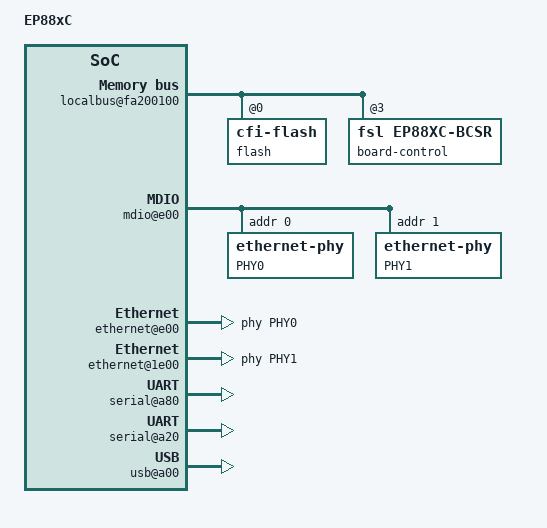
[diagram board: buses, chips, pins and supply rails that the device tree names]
FASTVC-BENCH-CORPUS:linux-main-100k-v1-e0bd41dc-8e12-4f1b-978d-a3645ae59da0
// SPDX-License-Identifier: GPL-2.0-or-later
/*
 * EP88xC Device Tree Source
 *
 * Copyright 2006 MontaVista Software, Inc.
 * Copyright 2007,2008 Freescale Semiconductor, Inc.
 */

/dts-v1/;

/ {
	model = "EP88xC";
	compatible = "fsl,ep88xc";
	#address-cells = <1>;
	#size-cells = <1>;

	cpus {
		#address-cells = <1>;
		#size-cells = <0>;

		PowerPC,885@0 {
			device_type = "cpu";
			reg = <0x0>;
			d-cache-line-size = <16>;
			i-cache-line-size = <16>;
			d-cache-size = <8192>;
			i-cache-size = <8192>;
			timebase-frequency = <0>;
			bus-frequency = <0>;
			clock-frequency = <0>;
			interrupts = <15 2>;	// decrementer interrupt
			interrupt-parent = <&PIC>;
		};
	};

	memory {
		device_type = "memory";
		reg = <0x0 0x0>;
	};

	localbus@fa200100 {
		compatible = "fsl,mpc885-localbus", "fsl,pq1-localbus";
		#address-cells = <2>;
		#size-cells = <1>;
		reg = <0xfa200100 0x40>;

		ranges = <
			0x0 0x0 0xfc000000 0x4000000
			0x3 0x0 0xfa000000 0x1000000
		>;

		flash@0,2000000 {
			compatible = "cfi-flash";
			reg = <0x0 0x2000000 0x2000000>;
			bank-width = <4>;
			device-width = <2>;
		};

		board-control@3,400000 {
			reg = <0x3 0x400000 0x10>;
			compatible = "fsl,ep88xc-bcsr";
		};
	};

	soc@fa200000 {
		compatible = "fsl,mpc885", "fsl,pq1-soc";
/* bench 1104.1.0 f76d8e9b9fa3 */
/* bench 1104.1.1 95cd574e8900 */
/* bench 1104.1.2 0bd11acba989 */
/* bench 1104.1.3 bf47e066af4f */
/* bench 1104.1.4 37d31f3e0a36 */
/* bench 1104.1.5 c51ae8f33baa */
/* bench 1104.1.6 4078c4d590bc */
		#size-cells = <1>;
		device_type = "soc";
		ranges = <0x0 0xfa200000 0x4000>;
		bus-frequency = <0>;

		// Temporary -- will go away once kernel uses ranges for get_immrbase().
		reg = <0xfa200000 0x4000>;

		mdio@e00 {
			compatible = "fsl,mpc885-fec-mdio", "fsl,pq1-fec-mdio";
			reg = <0xe00 0x188>;
			#address-cells = <1>;
			#size-cells = <0>;

			PHY0: ethernet-phy@0 {
				reg = <0x0>;
			};

			PHY1: ethernet-phy@1 {
				reg = <0x1>;
			};
		};

		ethernet@e00 {
			device_type = "network";
			compatible = "fsl,mpc885-fec-enet",
			             "fsl,pq1-fec-enet";
			reg = <0xe00 0x188>;
			local-mac-address = [ 00 00 00 00 00 00 ];
			interrupts = <3 1>;
			interrupt-parent = <&PIC>;
			phy-handle = <&PHY0>;
			linux,network-index = <0>;
		};

		ethernet@1e00 {
			device_type = "network";
			compatible = "fsl,mpc885-fec-enet",
/* bench 17551.1.0 c6ec1ad9f73f */
/* bench 17551.1.1 13c04f425acf */
/* bench 17551.1.2 70a44ce1c4a5 */
/* bench 17551.1.3 898526e6d0fc */
/* bench 17551.1.4 d8e530418e0b */
/* bench 17551.1.5 db8672ef3441 */
			reg = <0x1e00 0x188>;
			local-mac-address = [ 00 00 00 00 00 00 ];
			interrupts = <7 1>;
			interrupt-parent = <&PIC>;
			phy-handle = <&PHY1>;
			linux,network-index = <1>;
/* bench 20410.1.0 56f483b9b151 */
/* bench 20410.1.1 5701eaed9035 */
/* bench 20410.1.2 ef8f680df2e2 */
/* bench 20410.1.3 45b0b0388989 */
/* bench 20410.1.4 81f13ecdff79 */
/* bench 20410.1.5 b889942e0640 */
/* bench 20410.1.6 fef211300ed0 */
/* bench 20410.1.7 9bce84662ff5 */
/* bench 20410.1.8 1c28a3b0147b */
/* bench 20410.1.9 ed2febb588d2 */
		};

		PIC: interrupt-controller@0 {
			interrupt-controller;
			#interrupt-cells = <2>;
			reg = <0x0 0x24>;
			compatible = "fsl,mpc885-pic", "fsl,pq1-pic";
		};

		pcmcia@80 {
			#address-cells = <3>;
			#interrupt-cells = <1>;
			#size-cells = <2>;
			compatible = "fsl,pq-pcmcia";
			device_type = "pcmcia";
			reg = <0x80 0x80>;
			interrupt-parent = <&PIC>;
			interrupts = <13 1>;
		};

		cpm@9c0 {
			#address-cells = <1>;
			#size-cells = <1>;
			compatible = "fsl,mpc885-cpm", "fsl,cpm1";
			command-proc = <0x9c0>;
			interrupts = <0>;	// cpm error interrupt
			interrupt-parent = <&CPM_PIC>;
			reg = <0x9c0 0x40>;
			ranges;

			muram@2000 {
				#address-cells = <1>;
				#size-cells = <1>;
				ranges = <0x0 0x2000 0x2000>;

				data@0 {
					compatible = "fsl,cpm-muram-data";
					reg = <0x0 0x1c00>;
				};
			};

			brg@9f0 {
				compatible = "fsl,mpc885-brg",
				             "fsl,cpm1-brg",
				             "fsl,cpm-brg";
				reg = <0x9f0 0x10>;
			};

			CPM_PIC: interrupt-controller@930 {
				interrupt-controller;
				#interrupt-cells = <1>;
				interrupts = <5 2 0 2>;
				interrupt-parent = <&PIC>;
				reg = <0x930 0x20>;
				compatible = "fsl,mpc885-cpm-pic",
				             "fsl,cpm1-pic";
			};

			// MON-1
			serial@a80 {
				device_type = "serial";
				compatible = "fsl,mpc885-smc-uart",
				             "fsl,cpm1-smc-uart";
				reg = <0xa80 0x10 0x3e80 0x40>;
				interrupts = <4>;
				interrupt-parent = <&CPM_PIC>;
				fsl,cpm-brg = <1>;
				fsl,cpm-command = <0x90>;
				linux,planetcore-label = "SMC1";
			};

			// SER-1
			serial@a20 {
				device_type = "serial";
				compatible = "fsl,mpc885-scc-uart",
				             "fsl,cpm1-scc-uart";
				reg = <0xa20 0x20 0x3d00 0x80>;
				interrupts = <29>;
				interrupt-parent = <&CPM_PIC>;
				fsl,cpm-brg = <2>;
				fsl,cpm-command = <0x40>;
				linux,planetcore-label = "SCC2";
			};

			usb@a00 {
				#address-cells = <1>;
				#size-cells = <0>;
				compatible = "fsl,mpc885-usb",
				             "fsl,cpm1-usb";
				reg = <0xa00 0x18 0x1c00 0x80>;
				interrupt-parent = <&CPM_PIC>;
				interrupts = <30>;
				fsl,cpm-command = <0000>;
			};
		};
	};
};
